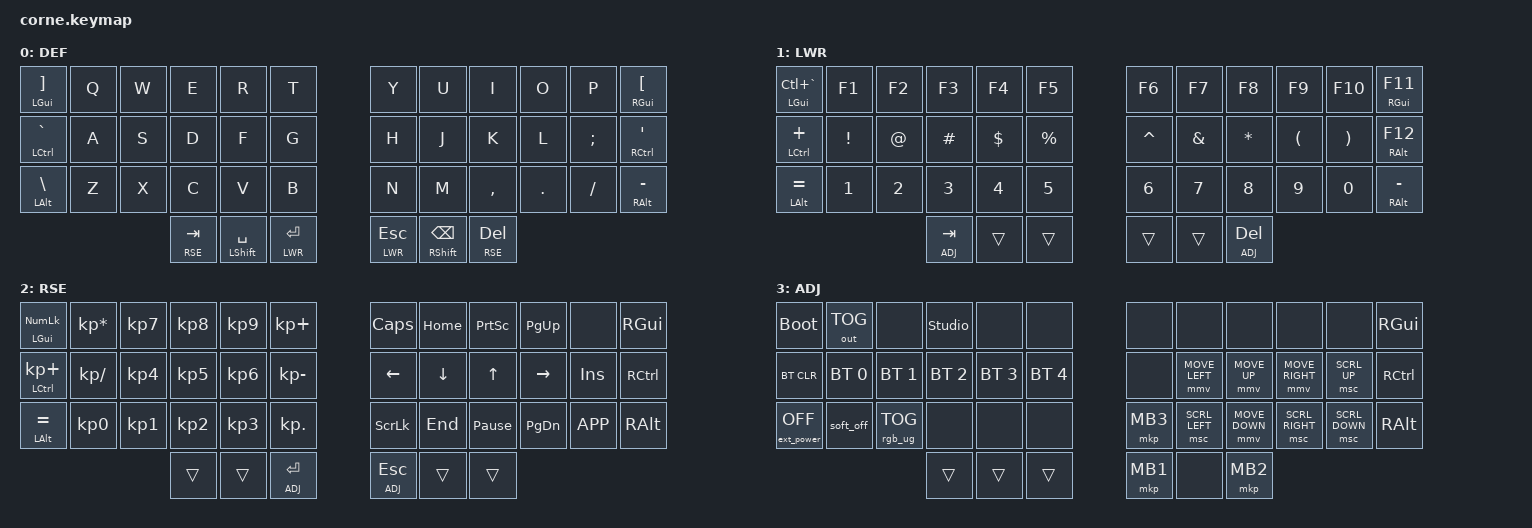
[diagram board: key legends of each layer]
/*
 * Copyright (c) 2020 The ZMK Contributors
 *
 * SPDX-License-Identifier: MIT
 */

#define ZMK_POINTING_DEFAULT_MOVE_VAL 1500  // default: 600
#define ZMK_POINTING_DEFAULT_SCRL_VAL 20    // default: 10

#include <behaviors.dtsi>
#include <dt-bindings/zmk/keys.h>
#include <dt-bindings/zmk/bt.h>
#include <dt-bindings/zmk/ext_power.h>
#include <dt-bindings/zmk/outputs.h>
#include <dt-bindings/zmk/pointing.h>
#include <dt-bindings/zmk/rgb.h>

#define DEF 0
#define LWR 1
#define RSE 2
#define ADJ 3

&lt {
    quick-tap-ms = <220>;
    tapping-term-ms = <280>;
    require-prior-idle-ms = <150>;
    flavor = "balanced";
};

&mt {
    quick-tap-ms = <220>;
    tapping-term-ms = <280>;
    require-prior-idle-ms = <150>;
    flavor = "balanced";
};

&mmv {
    time-to-max-speed-ms = <1000>;
};

&msc {
    time-to-max-speed-ms = <600>;
};

/ {
    combos {
        compatible = "zmk,combos";

        combo_esc_left {
            timeout-ms = <50>;
            key-positions = <4 3 2>;
            bindings = <&kp ESC>;
        };

        combo_esc_right {
            timeout-ms = <50>;
            key-positions = <9 8 7>;
            bindings = <&kp ESC>;
        };

        combo_ret_left {
            timeout-ms = <50>;
            key-positions = <28 27 26>;
            bindings = <&kp RET>;
        };

        combo_ret_right {
            timeout-ms = <50>;
            key-positions = <33 32 31>;
            bindings = <&kp RET>;
        };
    };
};

/ {
    keymap {
        compatible = "zmk,keymap";

        default_layer {
            label = "DEF";
            /*
-------------------------------------------------------------------------------
|LGUI/]|  Q  |  W  |  E  |  R  |  T  |   |  Y  |  U  |  I  |  O  |  P  |RGUI/[|
|CTRL/`|  A  |  S  |  D  |  F  |  G  |   |  H  |  J  |  K  |  L  |  ;  |CTRL/'|
|LALT/\|  Z  |  X  |  C  |  V  |  B  |   |  N  |  M  |  ,  |  .  |  /  |RALT/-|
                   | RSE | SPC | LWR |   | LWR | BKSP| RSE |
*/

            bindings = <
&mt LGUI RBKT    &kp Q  &kp W  &kp E  &kp R        &kp T                                      &kp Y           &kp U        &kp I      &kp O    &kp P     &mt RGUI LBKT
&mt LCTRL GRAVE  &kp A  &kp S  &kp D  &kp F        &kp G                                      &kp H           &kp J        &kp K      &kp L    &kp SEMI  &mt RCTRL SQT
&mt LALT BSLH    &kp Z  &kp X  &kp C  &kp V        &kp B                                      &kp N           &kp M        &kp COMMA  &kp DOT  &kp FSLH  &mt RALT MINUS
                                      &lt RSE TAB  &mt LSHFT SPACE  &lt LWR RET  &lt LWR ESC  &mt RSHFT BSPC  &lt RSE DEL
            >;
        };

        lower_layer {
            label = "LWR";
            /*
-------------------------------------------------------------------------------------
|LGUI/TRM| F1  | F2 | F3  | F4  | F5  |    | F6  | F7  | F8  | F9  | F10 | RGUI/F11 |
| CTRL/+ |  !  |  @ |  #  |  $  |  %  |    |  ^  |  &  |  *  |  (  |  )  | CTRL/F12 |
| LALT/= |  1  |  2 |  3  |  4  |  5  |    |  6  |  7  |  8  |  9  |  0  | RALT/-   |
                    | ADJ | ___ | ___ |    | ___ | ___ | ADJ |
*/

            bindings = <
&mt LGUI LC(GRAVE)  &kp F1    &kp F2  &kp F3    &kp F4       &kp F5                       &kp F6     &kp F7       &kp F8    &kp F9    &kp F10   &mt RGUI F11
&mt LCTRL PLUS      &kp EXCL  &kp AT  &kp HASH  &kp DOLLAR   &kp PERCENT                  &kp CARET  &kp AMPS     &kp STAR  &kp LPAR  &kp RPAR  &mt RALT F12
&mt LALT EQUAL      &kp N1    &kp N2  &kp N3    &kp N4       &kp N5                       &kp N6     &kp N7       &kp N8    &kp N9    &kp N0    &mt RALT MINUS
                                                &lt ADJ TAB  &trans       &trans  &trans  &trans     &lt ADJ DEL
            >;
        };

        raise_layer {
            label = "RSE";
            /*
----------------------------------------------------------------------------------------------
|LGUI/NUML|K *  |K 7 |K 8  |K 9  |K +  |            | CAPS | HOME | PSCR| PGUP | ___  | RGUI |
| CTRL/+  |K /  |K 4 |K 5  |K 6  |K -  |            | LEFT | DOWN | UP  | RGHT | INS  | CTRL |
| LALT/=  |K 0  |K 1 |K 4  |K 3  |K .  |            | SLCK | END  |PAUSE| PGDN | MENU | RALT |
                   | ___ | ___  | ADJ  |            | ADJ  | ___  | ___ |
*/

            bindings = <
&mt LGUI KP_NUM    &kp KP_MULTIPLY  &kp KP_N7  &kp KP_N8  &kp KP_N9  &kp KP_PLUS                             &kp CAPS  &kp HOME  &kp PSCRN        &kp PG_UP  &none       &kp RGUI
&mt LCTRL KP_PLUS  &kp KP_DIVIDE    &kp KP_N4  &kp KP_N5  &kp KP_N6  &kp KP_MINUS                            &kp LEFT  &kp DOWN  &kp UP           &kp RIGHT  &kp INSERT  &kp RCTRL
&mt LALT EQUAL     &kp KP_N0        &kp KP_N1  &kp KP_N2  &kp KP_N3  &kp KP_DOT                              &kp SLCK  &kp END   &kp PAUSE_BREAK  &kp PG_DN  &kp K_APP   &kp RALT
                                                          &trans     &trans        &lt ADJ RET  &lt ADJ ESC  &trans    &trans
            >;
        };

        adjust_layer {
            label = "ADJ";
            /*
----------------------------------------------------------------------------------------------
| BLDR |OUT TG|     | STUD|     |     |   |        |        |       |        |        | RGUI |
| BTCLR| BT0  | BT1 | BT2 | BT3 | BT4 |   |        |MS LEFT | MS UP |MS RIGHT|MS WH UP| CTRL |
|pwrOFF|sftOFF| RGB |     |     |     |   |MIDL CLK|MS WH LT|MS DOWN|MS WH RT|MS WH DN| RALT |
                    | ___ | ___ | ___ |   |LEFT CLK|        | RIGHT CLK|
*/

            bindings = <
&bootloader        &out OUT_TOG  &none         &studio_unlock  &none         &none                           &none     &none           &none           &none            &none           &kp RGUI
&bt BT_CLR         &bt BT_SEL 0  &bt BT_SEL 1  &bt BT_SEL 2    &bt BT_SEL 3  &bt BT_SEL 4                    &none     &mmv MOVE_LEFT  &mmv MOVE_UP    &mmv MOVE_RIGHT  &msc SCRL_UP    &kp RCTRL
&ext_power EP_OFF  &soft_off     &rgb_ug RGB_TOG  &none           &none         &none                           &mkp MB3  &msc SCRL_LEFT  &mmv MOVE_DOWN  &msc SCRL_RIGHT  &msc SCRL_DOWN  &kp RALT
                                                               &trans        &trans        &trans  &mkp MB1  &none     &mkp MB2
            >;
        };
    };
};
